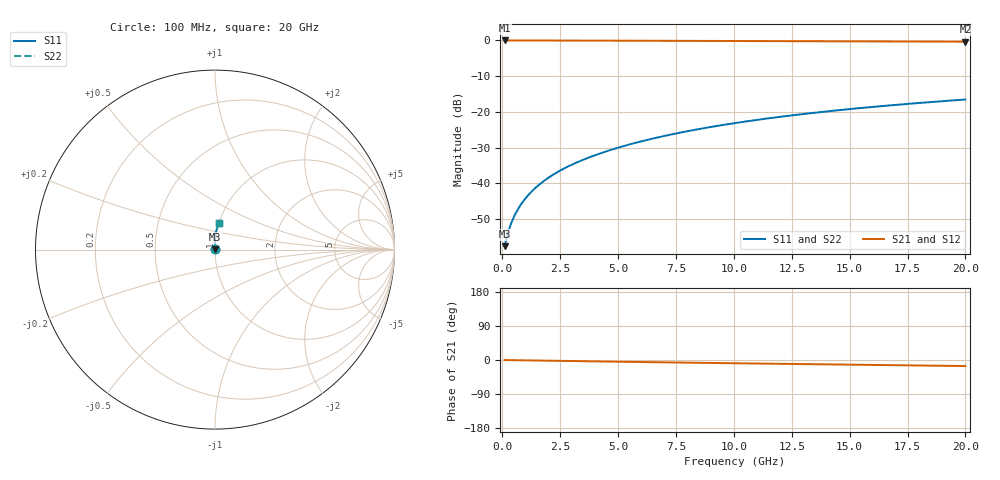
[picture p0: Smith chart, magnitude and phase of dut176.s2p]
! Touchstone file exported from HFSS 2024.1.0
!  File:  C:/UserFiles/LocalFiles/RDL_TSV_Batchsim/temp_RDL_bottom_176_1778698485.aedt
!  Generated:  02:57:05 AM May 14, 2026
!  Design:  RDL_bottom
!  Project:  temp_RDL_bottom_176_1778698485
!  Setup:  Setup1
!  Solution:  Sweep
! Variables:
!  dtsv = 10.80580581um
!  hbump = 3um
!  htsv = 68.94um
!  ldown = 224.07um
!  lrdl = 100um
!  p = 40
!  p1 = 43.75um
!  rhole = 1um
!  t = 450um
!  tdown = 3.61um
!  trdl = 3.915915916um
!  wdown = 24.68um
!  wrdl = 20um
# GHz S MA R 50.000000
! Terminal data exported
! Port[1] = RDL1_T1
! Port[2] = RDL1_T2
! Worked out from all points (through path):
!   200 points, 100 MHz to 20 GHz, reference 50 ohm
!   highest |S21| = -0.01 dB at 100 MHz (marker M1); lowest = -0.4 dB at 20 GHz (marker M2)
!   group delay of S21, straight-line fit = 2.19 ps
!   lowest |S11| = -57.6 dB at 100 MHz (marker M3), VSWR 1.00, Z = 50.1 + j0.0692 ohm
!   |S11| at or under -10 dB: start of sweep to end of sweep
!   |S22| runs from -57.6 to -16.5 dB; largest |S21 - S12| = 3.2e-15
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0.1  0.001319 31.6  0.9989 -0.1  0.9989 -0.1  0.001319 31.6
! Gamma 0 0 0 0
! Port Impedance 50 0 50 0
0.2  0.001791 48.4  0.9988 -0.2  0.9988 -0.2  0.001791 48.4
0.3  0.002316 57.3  0.9987 -0.3  0.9987 -0.3  0.002316 57.3
0.4  0.002847 62.9  0.9986 -0.4  0.9986 -0.4  0.002847 62.9
0.5  0.003382 67.0  0.9986 -0.5  0.9986 -0.5  0.003382 67.0
0.6  0.003923 70.1  0.9985 -0.6  0.9985 -0.6  0.003922 70.1
0.8  0.005024 74.6  0.9984 -0.8  0.9984 -0.8  0.005024 74.6
1  0.006149 77.7  0.9982 -0.9  0.9982 -0.9  0.006149 77.7
1.2  0.007294 80.0  0.9981 -1.1  0.9981 -1.1  0.007294 80.0
1.4  0.008454 81.8  0.9979 -1.3  0.9979 -1.3  0.008454 81.8
1.7  0.01022 83.8  0.9976 -1.6  0.9976 -1.6  0.01022 83.8
2.2  0.01323 86.1  0.997 -2.1  0.997 -2.1  0.01323 86.1
2.8  0.01694 88.0  0.9961 -2.6  0.9961 -2.6  0.01694 88.0
3.5  0.02141 89.4  0.9949 -3.2  0.9949 -3.2  0.02141 89.4
4.2  0.02604 90.4  0.9935 -3.9  0.9935 -3.9  0.02604 90.4
5  0.03153 91.1  0.9918 -4.5  0.9918 -4.5  0.03153 91.1
6.8  0.04455 91.5  0.9876 -6.0  0.9876 -6.0  0.04455 91.5
8.4  0.05674 91.1  0.9837 -7.3  0.9837 -7.3  0.05674 91.1
10.1  0.07009 90.0  0.9798 -8.7  0.9798 -8.7  0.0701 90.1
13.4  0.09652 87.3  0.9726 -11.1  0.9726 -11.1  0.09653 87.3
16.7  0.1229 84.3  0.9659 -13.6  0.9659 -13.6  0.1229 84.3
20  0.1489 81.2  0.9595 -16.0  0.9595 -16.0  0.1489 81.2
